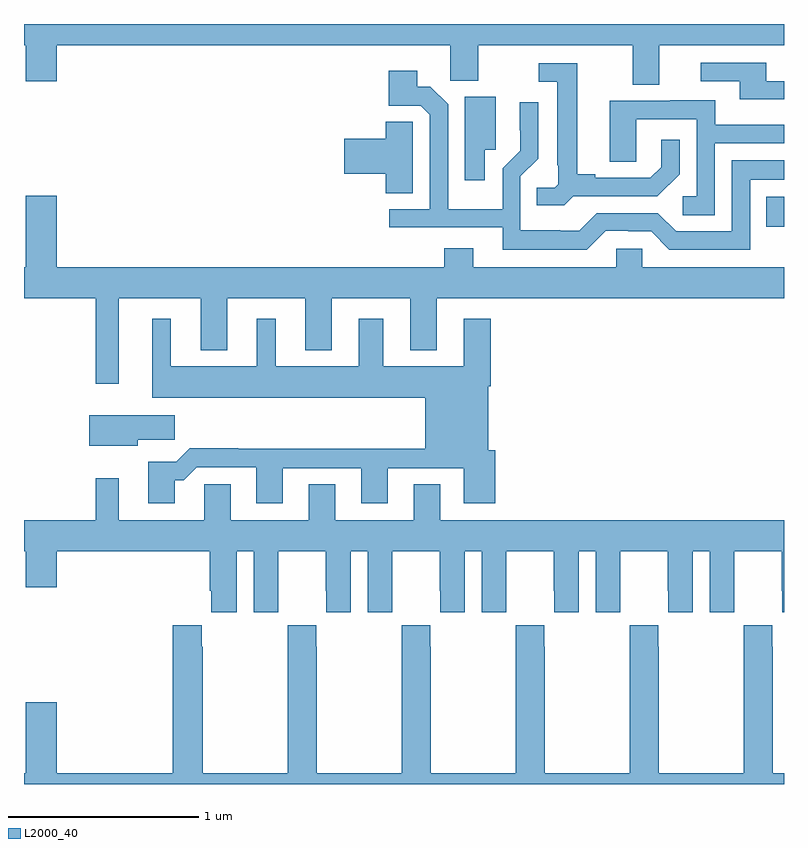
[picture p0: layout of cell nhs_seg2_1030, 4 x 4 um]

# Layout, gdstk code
import gdstk
lib = gdstk.Library(unit=1e-6, precision=1e-09)
def R(c, l, rs):  # rectangles x0, y0, x1, y1
    for r in rs: c.add(gdstk.rectangle(r[:2], r[2:], *l))
def P(c, l, *ps):  # polygons
    for p in ps: c.add(gdstk.Polygon(p, *l))
L2000_40 = (2000, 40)

nhs_seg2_1030 = lib.new_cell('nhs_seg2_1030')
R(nhs_seg2_1030, L2000_40, [(168.907,594.732,169,594.891)])
P(nhs_seg2_1030, L2000_40, [(168.343,595.688),(169,595.688),(169,595.8),(165,595.8),(165,595.688),(165.008,595.688),(165.008,595.5),(165.172,595.5),(165.172,595.688),(167.244,595.688),(167.244,595.501),(167.391,595.501),(167.391,595.688),(168.203,595.688),(168.203,595.48),(168.343,595.48)],
  [(169,595.5),(168.907,595.5),(168.907,595.596),(168.561,595.596),(168.561,595.5),(168.767,595.5),(168.767,595.403),(169,595.403)],
  [(167.892,594.894),(168.334,594.894),(168.45,595.01),(168.45,595.192),(168.353,595.192),(168.353,595.047),(168.296,594.99),(168.007,594.99),(168.007,595.01),(167.911,595.01),(167.911,595.593),(167.709,595.593),(167.709,595.497),(167.807,595.497),(167.807,595.057),(167.811,595.057),(167.811,594.957),(167.793,594.939),(167.698,594.939),(167.698,594.847),(167.844,594.847)],
  [(168.063,594.711),(168.18,594.711),(168.18,594.708),(168.3,594.708),(168.396,594.612),(168.822,594.612),(168.822,594.981),(169,594.981),(169,595.084),(168.726,595.084),(168.726,594.708),(168.432,594.708),(168.336,594.804),(168.015,594.804),(167.922,594.711),(167.822,594.711),(167.822,594.715),(167.613,594.715),(167.613,594.999),(167.706,595.092),(167.706,595.387),(167.61,595.387),(167.61,595.24),(167.612,595.24),(167.612,595.134),(167.52,595.042),(167.52,594.826),(167.232,594.826),(167.232,595.377),(167.139,595.47),(167.071,595.47),(167.071,595.555),(166.919,595.555),(166.919,595.371),(167.088,595.371),(167.136,595.323),(167.136,594.825),(166.923,594.825),(166.923,594.729),(167.519,594.729),(167.519,594.611),(167.963,594.611)],
  [(167.425,595.137),(167.482,595.137),(167.482,595.416),(167.321,595.416),(167.321,594.978),(167.425,594.978)],
  [(168.636,595.173),(169,595.173),(169,595.27),(168.637,595.27),(168.637,595.399),(168.401,595.399),(168.401,595.395),(168.083,595.395),(168.083,595.075),(168.222,595.075),(168.222,595.299),(168.54,595.299),(168.54,594.894),(168.468,594.894),(168.468,594.793),(168.636,594.793)],
  [(167.047,595.178),(167.046,595.178),(167.046,595.286),(166.904,595.286),(166.904,595.196),(166.686,595.196),(166.686,595.013),(166.904,595.013),(166.904,594.91),(167.047,594.91)],
  [(165.499,594.356),(165.929,594.356),(165.929,594.083),(166.069,594.083),(166.069,594.356),(166.481,594.356),(166.481,594.083),(166.621,594.083),(166.621,594.356),(167.033,594.356),(167.033,594.083),(167.173,594.083),(167.173,594.356),(169,594.356),(169,594.52),(168.255,594.52),(168.255,594.618),(168.117,594.618),(168.117,594.52),(167.365,594.52),(167.365,594.619),(167.213,594.619),(167.213,594.52),(165.172,594.52),(165.172,594.895),(165.008,594.895),(165.008,594.52),(165,594.52),(165,594.356),(165.378,594.356),(165.378,593.907),(165.499,593.907)],
  [(165.793,593.399),(165.842,593.399),(165.909,593.466),(166.223,593.466),(166.223,593.277),(166.363,593.277),(166.363,593.463),(166.775,593.463),(166.775,593.277),(166.915,593.277),(166.915,593.463),(167.315,593.463),(167.315,593.277),(167.48,593.277),(167.48,593.556),(167.443,593.556),(167.443,593.894),(167.456,593.894),(167.456,594.25),(167.315,594.25),(167.315,593.998),(166.891,593.998),(166.891,594.25),(166.763,594.25),(166.763,593.998),(166.324,593.998),(166.324,594.25),(166.226,594.25),(166.226,593.998),(165.772,593.998),(165.772,594.25),(165.674,594.25),(165.674,593.834),(167.111,593.834),(167.111,593.564),(166.127,593.564),(166.127,593.567),(165.872,593.567),(165.802,593.497),(165.653,593.497),(165.653,593.277),(165.793,593.277)],
  [(165.598,593.611),(165.793,593.611),(165.793,593.74),(165.344,593.74),(165.344,593.579),(165.598,593.579)],
  [(167.051,593.188),(166.639,593.188),(166.639,593.378),(166.499,593.378),(166.499,593.188),(166.087,593.188),(166.087,593.378),(165.948,593.378),(165.948,593.188),(165.499,593.188),(165.499,593.41),(165.378,593.41),(165.378,593.188),(165,593.188),(165,593.024),(165.008,593.024),(165.008,592.836),(165.172,592.836),(165.172,593.024),(165.977,593.024),(165.977,592.816),(165.986,592.816),(165.986,592.704),(166.12,592.704),(166.12,593.024),(166.208,593.024),(166.208,592.704),(166.338,592.704),(166.338,592.816),(166.339,592.816),(166.339,593.024),(166.589,593.024),(166.589,592.816),(166.59,592.816),(166.59,592.704),(166.72,592.704),(166.72,593.024),(166.808,593.024),(166.808,592.704),(166.938,592.704),(166.938,592.816),(166.939,592.816),(166.939,593.024),(167.189,593.024),(167.189,592.816),(167.19,592.816),(167.19,592.704),(167.32,592.704),(167.32,593.024),(167.408,593.024),(167.408,592.704),(167.538,592.704),(167.538,592.816),(167.539,592.816),(167.539,593.024),(167.789,593.024),(167.789,592.816),(167.79,592.816),(167.79,592.704),(167.92,592.704),(167.92,593.024),(168.008,593.024),(168.008,592.704),(168.138,592.704),(168.138,592.816),(168.139,592.816),(168.139,593.024),(168.389,593.024),(168.389,592.816),(168.39,592.816),(168.39,592.704),(168.52,592.704),(168.52,593.024),(168.608,593.024),(168.608,592.704),(168.738,592.704),(168.738,592.816),(168.739,592.816),(168.739,593.024),(168.989,593.024),(168.989,592.816),(168.99,592.816),(168.99,592.704),(169,592.704),(169,593.188),(167.191,593.188),(167.191,593.378),(167.051,593.378)],
  [(167.139,592.523),(167.139,592.636),(166.989,592.636),(166.989,592.523),(166.987,592.523),(166.987,591.856),(166.542,591.856),(166.542,592.523),(166.539,592.523),(166.539,592.636),(166.389,592.636),(166.389,592.523),(166.387,592.523),(166.387,591.856),(165.942,591.856),(165.942,592.523),(165.935,592.523),(165.935,592.636),(165.782,592.636),(165.782,591.856),(165.172,591.856),(165.172,592.231),(165.008,592.231),(165.008,591.856),(165,591.856),(165,591.8),(169,591.8),(169,591.856),(168.942,591.856),(168.942,592.523),(168.939,592.523),(168.939,592.636),(168.789,592.636),(168.789,592.523),(168.787,592.523),(168.787,591.856),(168.342,591.856),(168.342,592.523),(168.339,592.523),(168.339,592.636),(168.189,592.636),(168.189,592.523),(168.187,592.523),(168.187,591.856),(167.742,591.856),(167.742,592.523),(167.739,592.523),(167.739,592.636),(167.589,592.636),(167.589,592.523),(167.587,592.523),(167.587,591.856),(167.142,591.856),(167.142,592.523)])

lib.write_gds('nhs_seg2_1030.gds')
